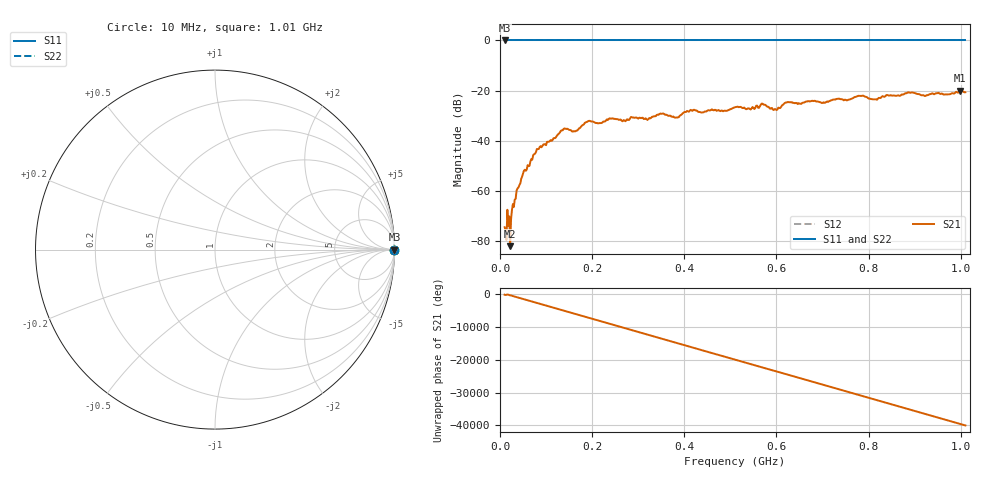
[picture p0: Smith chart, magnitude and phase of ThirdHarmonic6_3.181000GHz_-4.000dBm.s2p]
! 8/17/2025 9:36:16 AM
! C:\ANRITSUVNA\TEMP\TEMP.S2P
! CHANNEL.1
! TR.MEASUREMENT
! RAW.DATA
! RF.CORRECTION.OFF
! AVERAGING.OFF
! IF.BANDWIDTH: 5KHZ
! SWEEPTYPE:  FREQ.SWEEP(Linear)
! Reference Plane Port Info
! PORT:  PORT1  PORT2
! DISTANCE:  0  m  0  m
! TIME:  0  s  0  s
! PHASE.OFFSET:  0  deg.  0  deg.
! LOSS:  0  dB  0  dB
! REF.LOSS:  0  dB  0  dB
! REF.FREQ:  0  Hz  0  Hz
! Power Info
! POWER:  -20  dBm  -20  dBm
! EFF.POWER:  -20  dBm  -20  dBm
! SOURCE.ATTEN:  0  dB  0  dB
! TEST.ATTEN:  0  dB  0  dB
# GHZ S RI R 50.0
! FREQ.GHZ  S11RE  S11IM  S21RE  S21IM  S12RE  S12IM  S22RE  S22IM
!; PortSelection: Port_12
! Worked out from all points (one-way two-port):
!   501 points, 10 MHz to 1.01 GHz, reference 50 ohm
!   highest |S21| = -20.05 dB at 998 MHz (marker M1); lowest = -81.9 dB at 22 MHz (marker M2)
!   lowest |S11| = 0.0 dB at 10 MHz (marker M3)
!   |S11| at or under -10 dB: nowhere
!   |S22| runs from 0.0 to 0.0 dB; largest |S21 - S12| = 1.1
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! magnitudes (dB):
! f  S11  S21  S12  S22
! 10 MHz  0.0  -74.4  0.0  0.0
! 22 MHz  0.0  -81.9  0.0  0.0
! 36 MHz  0.0  -59.8  0.0  0.0
! 50 MHz  0.0  -53.1  0.0  0.0
! 76 MHz  0.0  -45.1  0.0  0.0
! 136 MHz  0.0  -35.8  0.0  0.0
! 162 MHz  0.0  -36.2  0.0  0.0
! 178 MHz  0.0  -33.9  0.0  0.0
! 192 MHz  0.0  -32.1  0.0  0.0
! 322 MHz  0.0  -31.3  0.0  0.0
! 344 MHz  0.0  -29.6  0.0  0.0
! 384 MHz  0.0  -30.7  0.0  0.0
! 416 MHz  0.0  -27.9  0.0  0.0
! 510 MHz  0.0  -26.6  0.0  0.0
! 570 MHz  0.0  -25.2  0.0  0.0
! 598 MHz  0.0  -27.4  0.0  0.0
! 622 MHz  0.0  -24.8  0.0  0.0
! 678 MHz  0.0  -24.0  0.0  0.0
! 814 MHz  0.0  -23.4  0.0  0.0
! 844 MHz  0.0  -22.0  0.0  0.0
! 998 MHz  0.0  -20.1  0.0  0.0
! 1.01 GHz  0.0  -20.6  0.0  0.0
